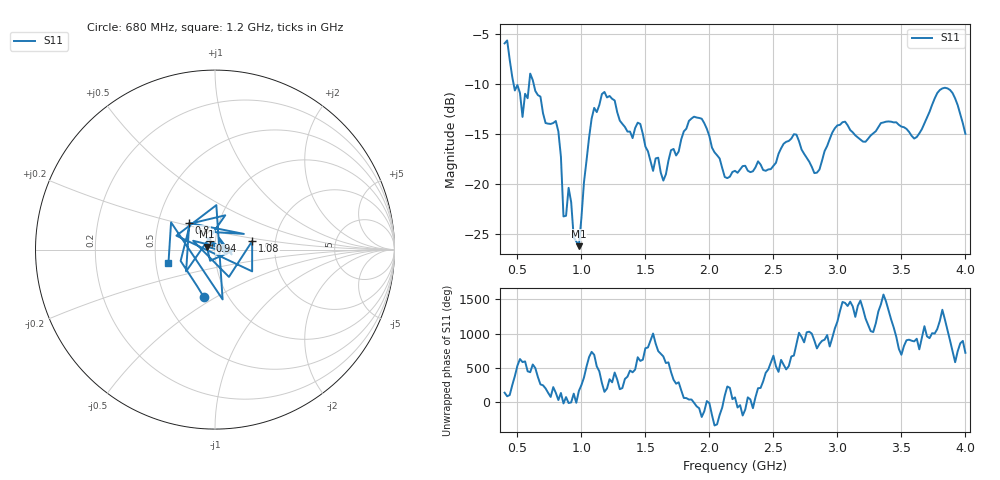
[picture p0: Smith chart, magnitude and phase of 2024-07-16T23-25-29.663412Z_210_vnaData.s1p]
!Created with skrf (http://scikit-rf.org).
# Hz S RI R 50.0
!freq ReS11 ImS11
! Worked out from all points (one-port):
!   181 points, 400 MHz to 4 GHz, reference 50 ohm
!   lowest |S11| = -26.2 dB at 980 MHz (marker M1), VSWR 1.10, Z = 45.6 + j1.54 ohm
!   |S11| at or under -10 dB: 469.9 MHz to 591.8 MHz (121.9 MHz wide, 23 % of centre); 626.7 MHz to end of sweep
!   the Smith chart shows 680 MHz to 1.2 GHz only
!   S11 on the Smith chart (normalised r, x): 680 MHz: 0.77, -0.44; 800 MHz: 0.72, +0.22; 940 MHz: 0.94, +0.09; 1.08 GHz: 1.51, +0.15; 1.2 GHz: 0.58, -0.10
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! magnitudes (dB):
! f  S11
! 400 MHz  -6.0
! 540 MHz  -13.3
! 600 MHz  -9.0
! 680 MHz  -11.3
! 720 MHz  -13.9
! 800 MHz  -13.7
! 840 MHz  -17.3
! 860 MHz  -23.2
! 900 MHz  -20.4
! 940 MHz  -25.3
! 980 MHz  -26.2
! 1.08 GHz  -13.5
! 1.2 GHz  -11.4
! 1.3 GHz  -13.7
! 1.46 GHz  -14.0
! 1.64 GHz  -19.6
! 1.76 GHz  -16.7
! 1.94 GHz  -13.5
! 2.12 GHz  -19.3
! 2.2 GHz  -18.7
! 2.48 GHz  -18.5
! 2.66 GHz  -15.0
! 2.82 GHz  -18.9
! 2.98 GHz  -14.4
! 3.1 GHz  -14.6
! 3.56 GHz  -14.8
! 3.84 GHz  -10.4
! 4 GHz  -15.0
